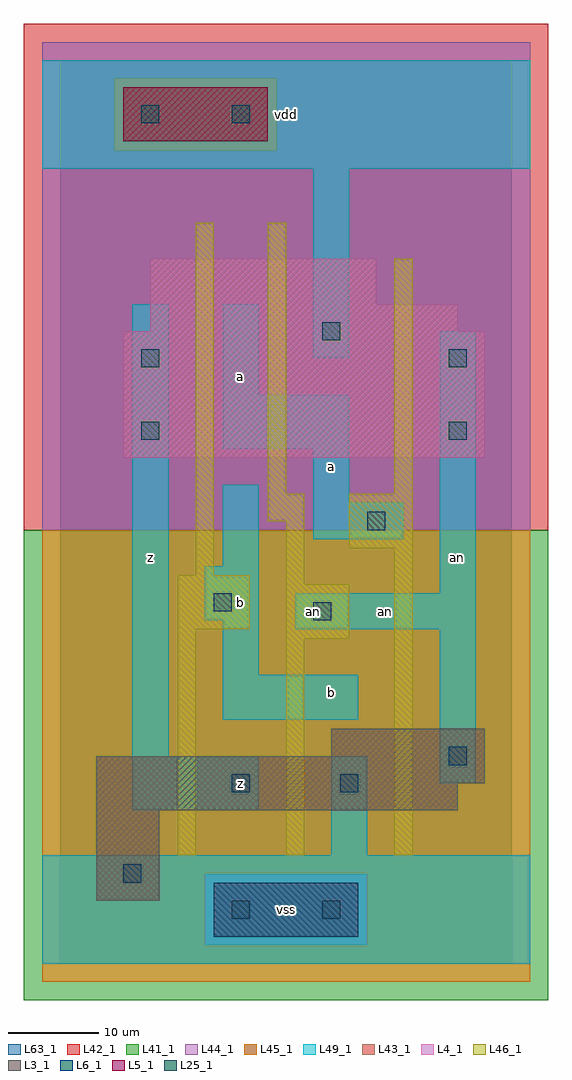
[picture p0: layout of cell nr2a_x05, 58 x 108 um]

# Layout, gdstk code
import gdstk
lib = gdstk.Library(unit=1e-6, precision=1e-09)
def R(c, l, rs):  # rectangles x0, y0, x1, y1
    for r in rs: c.add(gdstk.rectangle(r[:2], r[2:], *l))
L3_1 = (3, 1)
L4_1 = (4, 1)
L5_1 = (5, 1)
L6_1 = (6, 1)
L25_1 = (25, 1)
L41_1 = (41, 1)
L42_1 = (42, 1)
L43_1 = (43, 1)
L44_1 = (44, 1)
L45_1 = (45, 1)
L46_1 = (46, 1)
L49_1 = (49, 1)
L63_1 = (63, 1)

nr2a_x05 = lib.new_cell('nr2a_x05')
R(nr2a_x05, L3_1, [(4,7,11,17), (4,17,44,20), (4,20,47,23), (30,23,47,26)])
R(nr2a_x05, L4_1, [(7,56,47,70), (10,70,44,73), (10,73,35,78)])
R(nr2a_x05, L5_1, [(7,91,23,97)])
R(nr2a_x05, L6_1, [(17,3,33,9), (17,3,33,9)])
R(nr2a_x05, L25_1, [(19,5,21,7), (29,5,31,7), (7,9,9,11), (19,19,21,21), (31,19,33,21), (43,22,45,24), (28,38,30,40), (17,39,19,41), (34,48,36,50), (9,58,11,60), (43,58,45,60), (9,66,11,68), (43,66,45,68), (29,69,31,71), (9,93,11,95), (19,93,21,95)])
R(nr2a_x05, L41_1, [(-4,-4,54,48)])
R(nr2a_x05, L42_1, [(-4,48,54,104)])
R(nr2a_x05, L43_1, [(17,3,33,9), (4,7,11,17), (4,17,44,20), (4,20,47,23), (30,23,47,26), (7,56,47,70), (10,70,44,73), (10,73,35,78), (7,91,23,97)])
R(nr2a_x05, L44_1, [(16,2,34,10), (-2,48,52,90), (-2,90,6,98), (24,90,52,98), (-2,98,52,102)])
R(nr2a_x05, L45_1, [(-2,-2,52,2), (-2,2,16,10), (34,2,52,10), (-2,10,52,48), (6,90,24,98)])
R(nr2a_x05, L46_1, [(13,12,15,37), (25,12,27,36), (37,12,39,46), (25,36,32,42), (13,37,21,43), (25,42,27,49), (15,43,17,82), (32,46,39,52), (23,49,27,52), (23,52,25,82), (37,52,39,78)])
R(nr2a_x05, L49_1, [(-2,0,52,12), (30,12,34,23), (8,17,22,23), (42,20,46,37), (8,23,12,73), (18,27,33,32), (18,32,22,38), (26,37,46,41), (16,38,22,44), (42,41,46,70), (18,44,22,53), (28,47,38,51), (28,51,32,57), (18,57,32,63), (18,63,22,73), (28,67,32,88), (-2,88,52,100)])
R(nr2a_x05, L63_1, [(0,0,50,100)])
nr2a_x05.add(gdstk.Label('an', (28,39), layer=49, texttype=1))
nr2a_x05.add(gdstk.Label('z', (20,20), layer=49, texttype=1))
nr2a_x05.add(gdstk.Label('z', (10,45), layer=49, texttype=1))
nr2a_x05.add(gdstk.Label('b', (20,40), layer=49, texttype=1))
nr2a_x05.add(gdstk.Label('a', (20,65), layer=49, texttype=1))
nr2a_x05.add(gdstk.Label('vss', (25,6), layer=49, texttype=1))
nr2a_x05.add(gdstk.Label('b', (30,30), layer=49, texttype=1))
nr2a_x05.add(gdstk.Label('a', (30,55), layer=49, texttype=1))
nr2a_x05.add(gdstk.Label('vdd', (25,94), layer=49, texttype=1))
nr2a_x05.add(gdstk.Label('an', (36,39), layer=49, texttype=1))
nr2a_x05.add(gdstk.Label('an', (44,45), layer=49, texttype=1))

lib.write_gds('nr2a_x05.gds')
